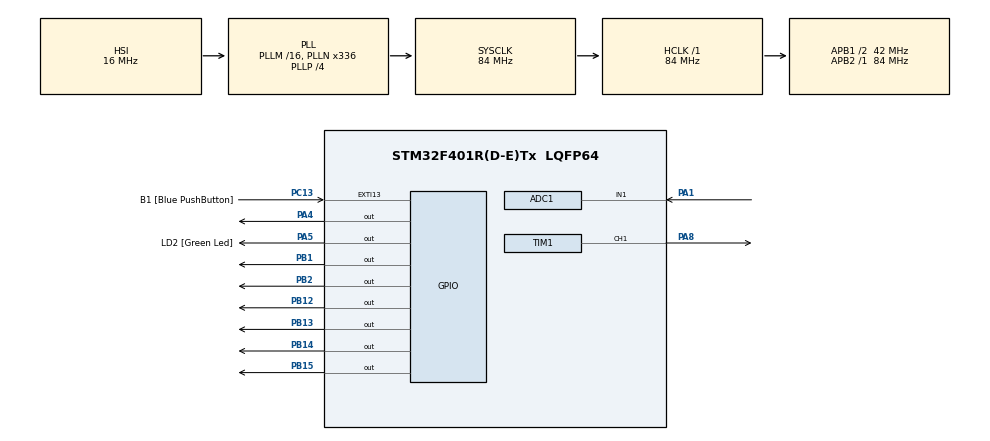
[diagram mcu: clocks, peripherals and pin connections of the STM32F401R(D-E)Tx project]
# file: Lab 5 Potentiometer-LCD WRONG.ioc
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ADC1.Channel-0\#ChannelRegularConversion=ADC_CHANNEL_1
ADC1.ExternalTrigConv=ADC_EXTERNALTRIGCONV_T1_CC1
ADC1.NbrOfConversion=1
ADC1.NbrOfConversionFlag=1
ADC1.Rank-0\#ChannelRegularConversion=1
ADC1.SamplingTime-0\#ChannelRegularConversion=ADC_SAMPLETIME_480CYCLES
ADC1.master=1
Mcu.Family=STM32F4
Mcu.Name=STM32F401R(D-E)Tx
Mcu.Package=LQFP64
NVIC.ADC_IRQn=true\:0\:0\:false\:false\:true\:true\:true\:true
NVIC.PriorityGroup=NVIC_PRIORITYGROUP_1
NVIC.TIM1_CC_IRQn=true\:0\:0\:false\:false\:true\:true\:true\:true
PA1.Signal=ADCx_IN1
PA13.GPIO_Label=TMS
PA13.Mode=Serial_Wire
PA13.Signal=SYS_JTMS-SWDIO
PA14.GPIO_Label=TCK
PA14.Mode=Serial_Wire
PA14.Signal=SYS_JTCK-SWCLK
PA2.GPIO_Label=USART_TX
PA2.GPIO_Mode=GPIO_MODE_AF_PP
PA2.GPIO_PuPd=GPIO_NOPULL
PA2.GPIO_Speed=GPIO_SPEED_FREQ_LOW
PA2.Signal=USART2_TX
PA3.GPIO_Label=USART_RX
PA3.GPIO_Mode=GPIO_MODE_AF_PP
PA3.GPIO_PuPd=GPIO_NOPULL
PA3.GPIO_Speed=GPIO_SPEED_FREQ_LOW
PA3.Signal=USART2_RX
PA4.Signal=GPIO_Output
PA5.GPIO_Label=LD2 [Green Led]
PA5.GPIO_Mode=GPIO_MODE_OUTPUT_PP
PA5.GPIO_PuPd=GPIO_NOPULL
PA5.GPIO_Speed=GPIO_SPEED_FREQ_LOW
PA5.Signal=GPIO_Output
PA8.Signal=S_TIM1_CH1
PB1.Signal=GPIO_Output
PB12.Signal=GPIO_Output
PB13.Signal=GPIO_Output
PB14.Signal=GPIO_Output
PB15.Signal=GPIO_Output
PB2.Signal=GPIO_Output
PB3.GPIO_Label=SWO
PB3.Signal=SYS_JTDO-SWO
PC13-ANTI_TAMP.GPIO_Label=B1 [Blue PushButton]
PC13-ANTI_TAMP.GPIO_ModeDefaultEXTI=GPIO_MODE_IT_FALLING
PC13-ANTI_TAMP.GPIO_PuPd=GPIO_NOPULL
PC13-ANTI_TAMP.Signal=GPXTI13
PC14-OSC32_IN.Mode=LSE-External-Oscillator
PC14-OSC32_IN.Signal=RCC_OSC32_IN
PC15-OSC32_OUT.Mode=LSE-External-Oscillator
PC15-OSC32_OUT.Signal=RCC_OSC32_OUT
PH0\ -\ OSC_IN.Mode=HSE-External-Clock-Source
PH0\ -\ OSC_IN.Signal=RCC_OSC_IN
PH1\ -\ OSC_OUT.Mode=HSE-External-Clock-Source
PH1\ -\ OSC_OUT.Signal=RCC_OSC_OUT
ProjectManager.HeapSize=0x200
ProjectManager.StackSize=0x400
ProjectManager.TargetToolchain=STM32CubeIDE
RCC.48MHZClocksFreq_Value=48000000
RCC.AHBFreq_Value=84000000
RCC.APB1CLKDivider=RCC_HCLK_DIV2
RCC.APB1Freq_Value=42000000
RCC.APB1TimFreq_Value=84000000
RCC.APB2Freq_Value=84000000
RCC.APB2TimFreq_Value=84000000
RCC.CortexFreq_Value=84000000
RCC.HCLKFreq_Value=84000000
RCC.HSE_VALUE=8000000
RCC.HSI_VALUE=16000000
RCC.PLLN=336
RCC.PLLP=RCC_PLLP_DIV4
RCC.PLLQ=7
RCC.SYSCLKFreq_VALUE=84000000
RCC.SYSCLKSource=RCC_SYSCLKSOURCE_PLLCLK
RCC.VCOOutputFreq_Value=336000000
SH.ADCx_IN1.0=ADC1_IN1,IN1
SH.S_TIM1_CH1.0=TIM1_CH1,PWM Generation1 CH1
TIM1.Channel-PWM\ Generation1\ CH1=TIM_CHANNEL_1
TIM1.Period=10000-1
TIM1.Prescaler=8400-1
TIM1.Pulse-PWM\ Generation1\ CH1=1
VP_TIM1_VS_ClockSourceINT.Mode=Internal
board=NUCLEO-F401RE

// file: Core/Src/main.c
/* USER CODE BEGIN Header */
/**
  ******************************************************************************
  * @file           : main.c
  * @brief          : Main program body
  ******************************************************************************
  * @attention
  *
  * Copyright (c) 2023 STMicroelectronics.
  * All rights reserved.
  *
  * This software is licensed under terms that can be found in the LICENSE file
  * in the root directory of this software component.
  * If no LICENSE file comes with this software, it is provided AS-IS.
  *
  ******************************************************************************
  */
/* USER CODE END Header */
#include "main.h"

/* USER CODE BEGIN Includes */
#include <stdio.h>
#include <string.h>
#include <math.h>
#include "PMDB16_LCD.h"
/* USER CODE END Includes */

ADC_HandleTypeDef hadc1;

TIM_HandleTypeDef htim1;

void SystemClock_Config(void);
static void MX_GPIO_Init(void);
static void MX_ADC1_Init(void);
static void MX_TIM1_Init(void);

/* USER CODE BEGIN 0 */

void HAL_ADC_ConvCpltCallback(ADC_HandleTypeDef *hadc){
	if(hadc == &hadc1){
		float aux = HAL_ADC_GetValue(&hadc1);
		char string[64];
		snprintf(string, sizeof(string), "Voltage: %.3f", aux*3.3/4096);
		lcd_println(string, 0);
		lcd_drawBar(round(aux/4096*80));
	}

}
/* USER CODE END 0 */

int main(void)
{

  /* MCU Configuration--------------------------------------------------------*/

  /* Reset of all peripherals, Initializes the Flash interface and the Systick. */
  HAL_Init();

  /* Configure the system clock */
  SystemClock_Config();

  /* Initialize all configured peripherals */
  MX_GPIO_Init();
  MX_ADC1_Init();
  MX_TIM1_Init();
  /* USER CODE BEGIN 2 */
  lcd_initialize();
  lcd_backlight_ON();

  if(HAL_TIM_PWM_Start(&htim1, TIM_CHANNEL_1) != HAL_OK)
	  Error_Handler();
  if(HAL_ADC_Start_IT(&hadc1) != HAL_OK)
		  Error_Handler();
  /* USER CODE END 2 */

  /* Infinite loop */
  while (1)
  {

  }
}

void SystemClock_Config(void)
{
  RCC_OscInitTypeDef RCC_OscInitStruct = {0};
  RCC_ClkInitTypeDef RCC_ClkInitStruct = {0};

  /** Configure the main internal regulator output voltage
  */
  __HAL_RCC_PWR_CLK_ENABLE();
  __HAL_PWR_VOLTAGESCALING_CONFIG(PWR_REGULATOR_VOLTAGE_SCALE2);

  /** Initializes the RCC Oscillators according to the specified parameters
  * in the RCC_OscInitTypeDef structure.
  */
  RCC_OscInitStruct.OscillatorType = RCC_OSCILLATORTYPE_HSI;
  RCC_OscInitStruct.HSIState = RCC_HSI_ON;
  RCC_OscInitStruct.HSICalibrationValue = RCC_HSICALIBRATION_DEFAULT;
  RCC_OscInitStruct.PLL.PLLState = RCC_PLL_ON;
  RCC_OscInitStruct.PLL.PLLSource = RCC_PLLSOURCE_HSI;
  RCC_OscInitStruct.PLL.PLLM = 16;
  RCC_OscInitStruct.PLL.PLLN = 336;
  RCC_OscInitStruct.PLL.PLLP = RCC_PLLP_DIV4;
  RCC_OscInitStruct.PLL.PLLQ = 7;
  if (HAL_RCC_OscConfig(&RCC_OscInitStruct) != HAL_OK)
  {
    Error_Handler();
  }

  /** Initializes the CPU, AHB and APB buses clocks
  */
  RCC_ClkInitStruct.ClockType = RCC_CLOCKTYPE_HCLK|RCC_CLOCKTYPE_SYSCLK
                              |RCC_CLOCKTYPE_PCLK1|RCC_CLOCKTYPE_PCLK2;
  RCC_ClkInitStruct.SYSCLKSource = RCC_SYSCLKSOURCE_PLLCLK;
  RCC_ClkInitStruct.AHBCLKDivider = RCC_SYSCLK_DIV1;
  RCC_ClkInitStruct.APB1CLKDivider = RCC_HCLK_DIV2;
  RCC_ClkInitStruct.APB2CLKDivider = RCC_HCLK_DIV1;

  if (HAL_RCC_ClockConfig(&RCC_ClkInitStruct, FLASH_LATENCY_2) != HAL_OK)
  {
    Error_Handler();
  }
}

static void MX_ADC1_Init(void)
{

  ADC_ChannelConfTypeDef sConfig = {0};

  /** Configure the global features of the ADC (Clock, Resolution, Data Alignment and number of conversion)
  */
  hadc1.Instance = ADC1;
  hadc1.Init.ClockPrescaler = ADC_CLOCK_SYNC_PCLK_DIV4;
  hadc1.Init.Resolution = ADC_RESOLUTION_12B;
  hadc1.Init.ScanConvMode = DISABLE;
  hadc1.Init.ContinuousConvMode = DISABLE;
  hadc1.Init.DiscontinuousConvMode = DISABLE;
  hadc1.Init.ExternalTrigConvEdge = ADC_EXTERNALTRIGCONVEDGE_RISING;
  hadc1.Init.ExternalTrigConv = ADC_EXTERNALTRIGCONV_T1_CC1;
  hadc1.Init.DataAlign = ADC_DATAALIGN_RIGHT;
  hadc1.Init.NbrOfConversion = 1;
  hadc1.Init.DMAContinuousRequests = DISABLE;
  hadc1.Init.EOCSelection = ADC_EOC_SINGLE_CONV;
  if (HAL_ADC_Init(&hadc1) != HAL_OK)
  {
    Error_Handler();
  }

  /** Configure for the selected ADC regular channel its corresponding rank in the sequencer and its sample time.
  */
  sConfig.Channel = ADC_CHANNEL_1;
  sConfig.Rank = 1;
  sConfig.SamplingTime = ADC_SAMPLETIME_480CYCLES;
  if (HAL_ADC_ConfigChannel(&hadc1, &sConfig) != HAL_OK)
  {
    Error_Handler();
  }

}

static void MX_TIM1_Init(void)
{

  TIM_ClockConfigTypeDef sClockSourceConfig = {0};
  TIM_MasterConfigTypeDef sMasterConfig = {0};
  TIM_OC_InitTypeDef sConfigOC = {0};
  TIM_BreakDeadTimeConfigTypeDef sBreakDeadTimeConfig = {0};

  htim1.Instance = TIM1;
  htim1.Init.Prescaler = 8400-1;
  htim1.Init.CounterMode = TIM_COUNTERMODE_UP;
  htim1.Init.Period = 10000-1;
  htim1.Init.ClockDivision = TIM_CLOCKDIVISION_DIV1;
  htim1.Init.RepetitionCounter = 0;
  htim1.Init.AutoReloadPreload = TIM_AUTORELOAD_PRELOAD_DISABLE;
  if (HAL_TIM_Base_Init(&htim1) != HAL_OK)
  {
    Error_Handler();
  }
  sClockSourceConfig.ClockSource = TIM_CLOCKSOURCE_INTERNAL;
  if (HAL_TIM_ConfigClockSource(&htim1, &sClockSourceConfig) != HAL_OK)
  {
    Error_Handler();
  }
  if (HAL_TIM_PWM_Init(&htim1) != HAL_OK)
  {
    Error_Handler();
  }
  sMasterConfig.MasterOutputTrigger = TIM_TRGO_RESET;
  sMasterConfig.MasterSlaveMode = TIM_MASTERSLAVEMODE_DISABLE;
  if (HAL_TIMEx_MasterConfigSynchronization(&htim1, &sMasterConfig) != HAL_OK)
  {
    Error_Handler();
  }
  sConfigOC.OCMode = TIM_OCMODE_PWM1;
  sConfigOC.Pulse = 1;
  sConfigOC.OCPolarity = TIM_OCPOLARITY_HIGH;
  sConfigOC.OCNPolarity = TIM_OCNPOLARITY_HIGH;
  sConfigOC.OCFastMode = TIM_OCFAST_DISABLE;
  sConfigOC.OCIdleState = TIM_OCIDLESTATE_RESET;
  sConfigOC.OCNIdleState = TIM_OCNIDLESTATE_RESET;
  if (HAL_TIM_PWM_ConfigChannel(&htim1, &sConfigOC, TIM_CHANNEL_1) != HAL_OK)
  {
    Error_Handler();
  }
  sBreakDeadTimeConfig.OffStateRunMode = TIM_OSSR_DISABLE;
  sBreakDeadTimeConfig.OffStateIDLEMode = TIM_OSSI_DISABLE;
  sBreakDeadTimeConfig.LockLevel = TIM_LOCKLEVEL_OFF;
  sBreakDeadTimeConfig.DeadTime = 0;
  sBreakDeadTimeConfig.BreakState = TIM_BREAK_DISABLE;
  sBreakDeadTimeConfig.BreakPolarity = TIM_BREAKPOLARITY_HIGH;
  sBreakDeadTimeConfig.AutomaticOutput = TIM_AUTOMATICOUTPUT_DISABLE;
  if (HAL_TIMEx_ConfigBreakDeadTime(&htim1, &sBreakDeadTimeConfig) != HAL_OK)
  {
    Error_Handler();
  }
  HAL_TIM_MspPostInit(&htim1);

}

static void MX_GPIO_Init(void)
{
  GPIO_InitTypeDef GPIO_InitStruct = {0};

  /* GPIO Ports Clock Enable */
  __HAL_RCC_GPIOC_CLK_ENABLE();
  __HAL_RCC_GPIOH_CLK_ENABLE();
  __HAL_RCC_GPIOA_CLK_ENABLE();
  __HAL_RCC_GPIOB_CLK_ENABLE();

  /*Configure GPIO pin Output Level */
  HAL_GPIO_WritePin(GPIOA, GPIO_PIN_4|LD2_Pin, GPIO_PIN_RESET);

  /*Configure GPIO pin Output Level */
  HAL_GPIO_WritePin(GPIOB, GPIO_PIN_1|GPIO_PIN_2|GPIO_PIN_12|GPIO_PIN_13
                          |GPIO_PIN_14|GPIO_PIN_15, GPIO_PIN_RESET);

  /*Configure GPIO pin : B1_Pin */
  GPIO_InitStruct.Pin = B1_Pin;
  GPIO_InitStruct.Mode = GPIO_MODE_IT_FALLING;
  GPIO_InitStruct.Pull = GPIO_NOPULL;
  HAL_GPIO_Init(B1_GPIO_Port, &GPIO_InitStruct);

  /*Configure GPIO pins : USART_TX_Pin USART_RX_Pin */
  GPIO_InitStruct.Pin = USART_TX_Pin|USART_RX_Pin;
  GPIO_InitStruct.Mode = GPIO_MODE_AF_PP;
  GPIO_InitStruct.Pull = GPIO_NOPULL;
  GPIO_InitStruct.Speed = GPIO_SPEED_FREQ_LOW;
  GPIO_InitStruct.Alternate = GPIO_AF7_USART2;
  HAL_GPIO_Init(GPIOA, &GPIO_InitStruct);

  /*Configure GPIO pins : PA4 LD2_Pin */
  GPIO_InitStruct.Pin = GPIO_PIN_4|LD2_Pin;
  GPIO_InitStruct.Mode = GPIO_MODE_OUTPUT_PP;
  GPIO_InitStruct.Pull = GPIO_NOPULL;
  GPIO_InitStruct.Speed = GPIO_SPEED_FREQ_LOW;
  HAL_GPIO_Init(GPIOA, &GPIO_InitStruct);

  /*Configure GPIO pins : PB1 PB2 PB12 PB13
                           PB14 PB15 */
  GPIO_InitStruct.Pin = GPIO_PIN_1|GPIO_PIN_2|GPIO_PIN_12|GPIO_PIN_13
                          |GPIO_PIN_14|GPIO_PIN_15;
  GPIO_InitStruct.Mode = GPIO_MODE_OUTPUT_PP;
  GPIO_InitStruct.Pull = GPIO_NOPULL;
  GPIO_InitStruct.Speed = GPIO_SPEED_FREQ_LOW;
  HAL_GPIO_Init(GPIOB, &GPIO_InitStruct);

}

void Error_Handler(void)
{
  __disable_irq();
  while (1)
  {
  }
}
